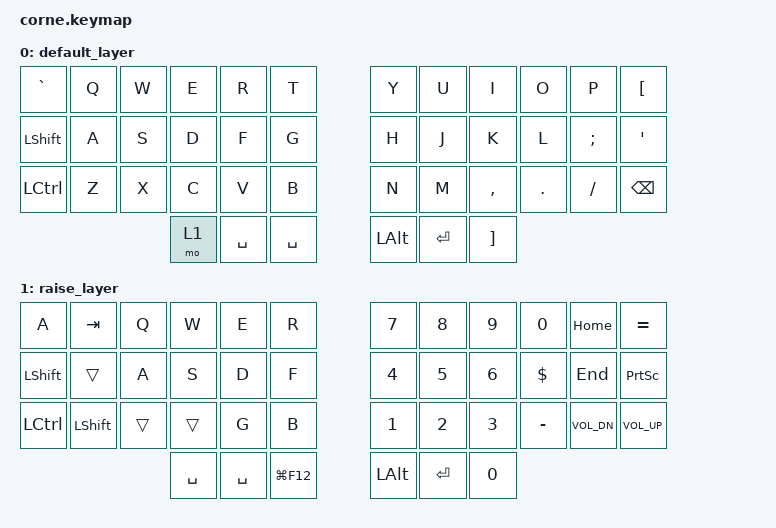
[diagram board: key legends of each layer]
/*
 * Copyright (c) 2020 The ZMK Contributors
 *
 * SPDX-License-Identifier: MIT
 */

#include <behaviors.dtsi>
#include <dt-bindings/zmk/keys.h>

#define DEF 0
#define LWR 1
#define RSE 2
#define FLR 3
#define ADJ 4

&lt { quick_tap_ms = <219>; };

&mt { quick_tap_ms = <219>; };

/ {
    behaviors {
        tdF: tap_dance_lang1 {
            compatible = "zmk,behavior-tap-dance";
            #binding-cells = <0>;
            tapping-term-ms = <100>;
            bindings = <&kp F>, <&kp LG(F11)>;
        };

        tdJ: tap_dance_lang2 {
            compatible = "zmk,behavior-tap-dance";
            #binding-cells = <0>;
            tapping-term-ms = <100>;
            bindings = <&kp J>, <&kp LG(F12)>;
        };

        lh_pht: left_positional_hold_tap {
            compatible = "zmk,behavior-hold-tap";
            #binding-cells = <2>;
            flavor = "tap-unless-interrupted";
            tapping-term-ms = <100>;                        // <---[[produces tap if held longer than tapping-term-ms]]
            quick-tap-ms = <200>;
            bindings = <&kp>, <&kp>;

            hold-trigger-key-positions = <0 1 2 3 4 5>;    // <---[[right-hand keys]]
        };
    };

    combos {
        compatible = "zmk,combos";

        //LangRu {
        //    bindings = <&kp LG(F11)>;
        //    key-positions = <0 1>;
        //    timeout-ms = <20>;
        //};
        //LangUs {
        //   bindings = <&kp LG(F12)>;
        //    key-positions = <10 11>;
        //    timeout-ms = <20>;
        //};
        //LangRuL {
        //    bindings = <&kp LG(F11)>;
        //    key-positions = <36 38>;
        //    timeout-ms = <20>;
        //};
        //LangUsL {
        //    bindings = <&kp LG(F12)>;
        //    key-positions = <39 41>;
        //    timeout-ms = <20>;
        //};
    };
};

/ {
    keymap {
        compatible = "zmk,keymap";

        default_layer {
            bindings = <
&kp GRAVE       &kp Q  &kp W  &kp E  &kp R      &kp T        &kp Y         &kp U      &kp I              &kp O    &kp P     &kp LEFT_BRACKET
&kp LEFT_SHIFT  &kp A  &kp S  &kp D  &kp F      &kp G        &kp H         &kp J      &kp K              &kp L    &kp SEMI  &kp SQT
&kp LCTRL       &kp Z  &kp X  &kp C  &kp V      &kp B        &kp N         &kp M      &kp COMMA          &kp DOT  &kp FSLH  &kp BACKSPACE
                              &mo 1  &kp SPACE  &kp SPACE    &kp LEFT_ALT  &kp ENTER  &kp RIGHT_BRACKET
            >;
        };

        raise_layer {
            bindings = <
&kp A           &kp TAB         &kp Q   &kp W      &kp E      &kp R          &kp N7        &kp N8        &kp N9        &kp N0      &kp HOME      &kp EQUAL
&kp LEFT_SHIFT  &trans          &kp A   &kp S      &kp D      &kp F          &kp NUMBER_4  &kp NUMBER_5  &kp NUMBER_6  &kp DOLLAR  &kp END       &kp PRINTSCREEN
&kp LCTRL       &kp LEFT_SHIFT  &trans  &trans     &kp G      &kp B          &kp N1        &kp NUMBER_2  &kp NUMBER_3  &kp MINUS   &kp C_VOL_DN  &kp C_VOL_UP
                                        &kp SPACE  &kp SPACE  &kp LG(F12)    &kp LEFT_ALT  &kp ENTER     &kp N0
            >;
        };
    };
};
